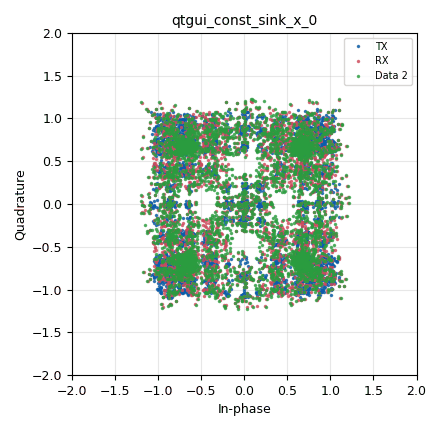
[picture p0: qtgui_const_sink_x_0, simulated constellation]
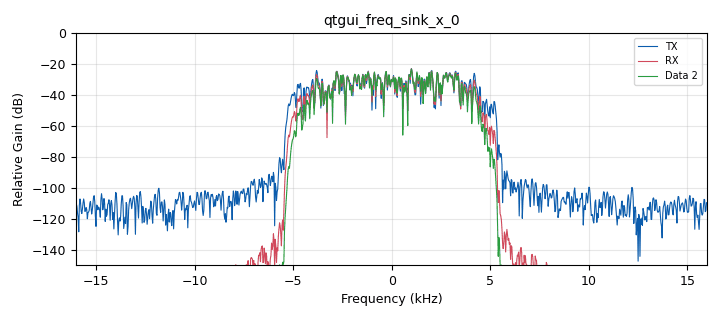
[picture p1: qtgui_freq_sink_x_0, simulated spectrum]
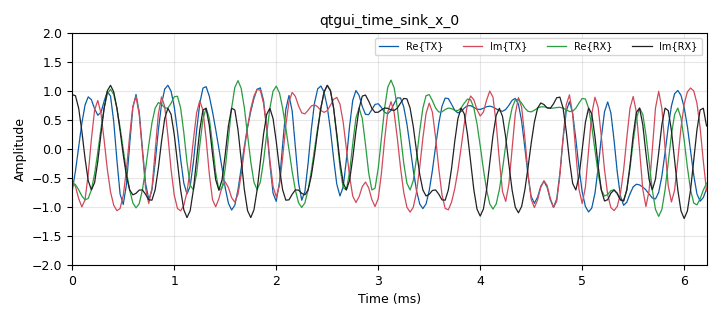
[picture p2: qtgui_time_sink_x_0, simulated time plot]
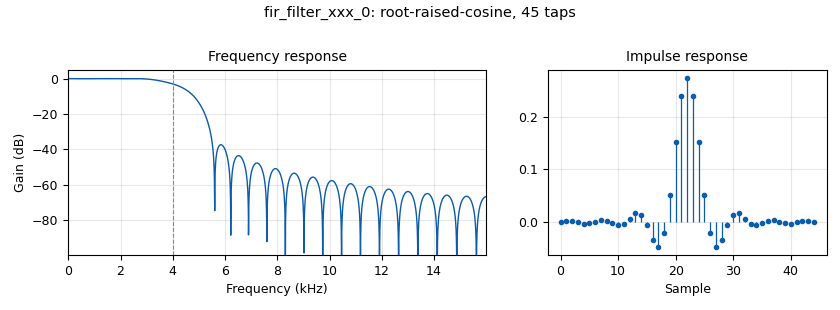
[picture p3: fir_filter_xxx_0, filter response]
options:
  parameters:
    category: Custom
    generate_options: qt_gui
    id: mpsk_stage1b
    output_language: python
  states: {}

blocks:
- name: excess_bw
  id: variable
  parameters:
    value: '0.35'
  states: {}
- name: qpsk
  id: variable_constellation_rect
  parameters:
    const_points: '[0.707+0.707j, -0.707+0.707j, -0.707-0.707j, 0.707-0.707j]'
    imag_sect: '2'
    real_sect: '2'
    rot_sym: '4'
    sym_map: '[0, 1, 2, 3]'
    w_imag_sect: '1'
    w_real_sect: '1'
  states: {}
- name: rrc_filter_taps
  id: variable_rrc_filter_taps
  parameters:
    alpha: excess_bw
    gain: '1'
    ntaps: 11*sps
    samp_rate: samp_rate
    sym_rate: samp_rate/sps
  states: {}
- name: samp_rate
  id: variable
  parameters:
    value: '32000'
  states: {}
- name: sps
  id: variable
  parameters:
    value: '4'
  states: {}
- name: analog_random_source_x_0
  id: analog_random_source_x
  parameters:
    max: '256'
    min: '0'
    num_samps: '10000'
    repeat: 'True'
    type: byte
  states: {}
- name: blocks_throttle_0
  id: blocks_throttle
  parameters:
    samples_per_second: samp_rate
    type: complex
  states: {}
- name: digital_constellation_modulator_0
  id: digital_constellation_modulator
  parameters:
    constellation: qpsk
    differential: 'True'
    excess_bw: excess_bw
    samples_per_symbol: sps
  states: {}
- name: fir_filter_xxx_0
  id: fir_filter_xxx
  parameters:
    decim: '1'
    taps: rrc_filter_taps
    type: ccc
  states: {}
- name: fir_filter_xxx_0_0
  id: fir_filter_xxx
  parameters:
    decim: '1'
    taps: rrc_filter_taps
    type: ccc
  states: {}
- name: qtgui_const_sink_x_0
  id: qtgui_const_sink_x
  parameters:
    alpha1: '0.75'
    alpha2: '0.5'
    color3: '"red"'
    gui_hint: 0,1,1,1
    label1: TX
    label2: RX
    name: ''
    nconnections: '3'
    size: 1024*4
    type: complex
  states: {}
- name: qtgui_freq_sink_x_0
  id: qtgui_freq_sink_x
  parameters:
    alpha1: '0.6'
    alpha2: '0.6'
    bw: samp_rate
    fc: '0'
    fftsize: '1024'
    gui_hint: 1,0,1,2
    label1: TX
    label2: RX
    label3: ''
    name: ''
    nconnections: '3'
    showports: 'True'
    type: complex
    width1: '2'
    width2: '2'
    wintype: firdes.WIN_BLACKMAN_hARRIS
    ymax: '0'
    ymin: '-150'
  states: {}
- name: qtgui_time_sink_x_0
  id: qtgui_time_sink_x
  parameters:
    alpha1: '0.5'
    alpha2: '0.5'
    alpha3: '0.5'
    alpha4: '0.5'
    gui_hint: 0,0,1,1
    label1: Re{TX}
    label2: Im{TX}
    label3: Re{RX}
    label4: Im{RX}
    name: ''
    nconnections: '2'
    size: '200'
    srate: samp_rate
    type: complex
    ymax: '2'
    ymin: '-2'
  states: {}

connections:
- [analog_random_source_x_0, '0', digital_constellation_modulator_0, '0']
- [blocks_throttle_0, '0', fir_filter_xxx_0, '0']
- [blocks_throttle_0, '0', qtgui_const_sink_x_0, '0']
- [blocks_throttle_0, '0', qtgui_freq_sink_x_0, '0']
- [blocks_throttle_0, '0', qtgui_time_sink_x_0, '0']
- [digital_constellation_modulator_0, '0', blocks_throttle_0, '0']
- [fir_filter_xxx_0, '0', fir_filter_xxx_0_0, '0']
- [fir_filter_xxx_0, '0', qtgui_const_sink_x_0, '1']
- [fir_filter_xxx_0, '0', qtgui_freq_sink_x_0, '1']
- [fir_filter_xxx_0, '0', qtgui_time_sink_x_0, '1']
- [fir_filter_xxx_0_0, '0', qtgui_const_sink_x_0, '2']
- [fir_filter_xxx_0_0, '0', qtgui_freq_sink_x_0, '2']

metadata:
  file_format: 1
